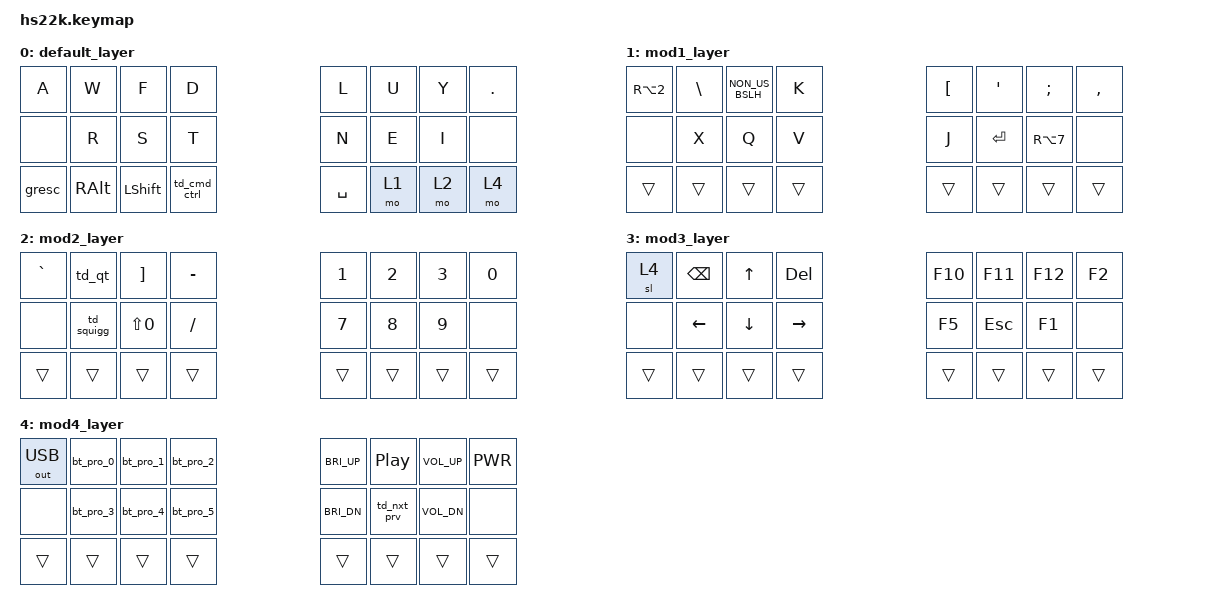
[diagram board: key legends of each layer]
/*
 * Copyright (c) 2022 Daniel Grenehed
 *
 * SPDX-License-Identifier: MIT
 */

#include <behaviors.dtsi>
#include <dt-bindings/zmk/keys.h>
#include <dt-bindings/zmk/outputs.h>
#include <dt-bindings/zmk/bt.h>

&mt {
	retro-tap;
};

/ {
	macros {/*
		bt_pro: set_bt_profile {
			label = "Bluetooth_select_profile";
			compatible = "zmk,behavior-macro-one-param";
			#binding-cells = <1>;
			bindings 
				= <&macro_param_1to2>
				, <&bt BT_SEL 0>
				, <&out OUT_BLE>
				;
		};*/
		
		bt_pro_0: set_pro_0 {
		 	label = "BLE_profile_0";
			compatible = "zmk,behavior-macro";
			#binding-cells = <0>;
			bindings = <&bt BT_SEL 0>, <&out OUT_BLE>;
		};
		bt_pro_1: set_pro_1 {
		 	label = "BLE_profile_1";
			compatible = "zmk,behavior-macro";
			#binding-cells = <0>;
			bindings = <&bt BT_SEL 1>, <&out OUT_BLE>;
		};
		bt_pro_2: set_pro_2 {
		 	label = "BLE_profile_2";
			compatible = "zmk,behavior-macro";
			#binding-cells = <0>;
			bindings = <&bt BT_SEL 2>, <&out OUT_BLE>;
		};
		bt_pro_3: set_pro_3 {
		 	label = "BLE_profile_3";
			compatible = "zmk,behavior-macro";
			#binding-cells = <0>;
			bindings = <&bt BT_SEL 3>, <&out OUT_BLE>;
		};
		bt_pro_4: set_pro_4 {
		 	label = "BLE_profile_4";
			compatible = "zmk,behavior-macro";
			#binding-cells = <0>;
			bindings = <&bt BT_SEL 4>, <&out OUT_BLE>;
		};
		bt_pro_5: set_pro_5 {
		 	label = "BLE_profile_5";
			compatible = "zmk,behavior-macro";
			#binding-cells = <0>;
			bindings = <&bt BT_SEL 5>, <&out OUT_BLE>;
		};
    	};

	behaviors {
		/*

		*/
		td_cmd_ctrl: td-cmd-ctrl {
		    compatible = "zmk,behavior-tap-dance";
		    label = "CMD-CTRL";
		    #binding-cells = <0>;
		    tapping-term-ms = <200>;
		    bindings = <&kp LCTRL>, <&kp LGUI>;
		};
		td_qt: strofe { /* ´ ` */
			compatible = "zmk,behavior-tap-dance";
			label = "STROFE";
			#binding-cells = <0>;
			tapping-term-ms = <200>;
			bindings = <&kp EQUAL>, <&kp LS(EQUAL)>;
		};
		td_nxt_prv: nextprev {
			compatible = "zmk,behavior-tap-dance";
			label = "NextPrev";
			#binding-cells = <0>;
			tapping-term-ms = <200>;
			bindings = <&kp C_NEXT>, <&kp C_PREV>;
		};
		td_squigg: squigg {
			compatible = "zmk,behavior-tap-dance";
			label = "Squigg";
			#binding-cells = <0>;
			tapping-term-ms = <200>;
			bindings = <&kp RA(RBKT)>, <&kp RA(N0)>;
		};
    };

	keymap {
		compatible = "zmk,keymap";

		default_layer {
			// --------------------------------------------------------
			// | A | W | F | D |				 	  | L | U | Y | . |
			// |   | R | S | T |				 	  | N | E | I |   |
			// | N/A | ALT | SHIFT | WIN/CTRl | SPACE | MO | MO | MO  |
			// --------------------------------------------------------
			bindings = <
				&kp A &kp W &kp F &kp D				&kp L &kp U &kp Y &kp DOT
				&none &kp R &kp S &kp T 			&kp N &kp E &kp I &none
				&gresc &kp RALT &kp LSHIFT &td_cmd_ctrl		&kp SPACE &mo 1 &mo 2 &mo 4
			>;
		};

		mod1_layer {
			// ---------------------------------------------------
			// | @ | ' | < | K |			| Å | Ä | Ö | , |
			// |   | X | Q | V |			| J | ENTER | | | |
			// | N/A | ALT | SHIFT | WIN | SPACE | MO | MO | MO  |
			// ---------------------------------------------------
			bindings = <
				&kp RA(N2) &kp BSLH &kp NON_US_BSLH &kp K	&kp LBKT &kp APOS &kp SEMI &kp COMMA
				&none &kp X &kp Q &kp V 			&kp J &kp RET &kp RA(N7) &none
				&trans &trans &trans &trans			&trans &trans &trans &trans
			>;
		};

		mod2_layer {
			// ---------------------------------------------------
			// | § | ´` | ¨ | + |				 | 1 | 2 | 3 | 0 |
			// |  | ~≈ | = | - |				 | 7 | 8 | 9 | |
			// | N/A | ALT | SHIFT | WIN | SPACE | MO | MO | MO  |
			// ---------------------------------------------------
			bindings = <
				&kp GRAVE &td_qt &kp RBKT &kp MINUS	&kp N1 &kp N2 &kp N3 &kp N0
				&none &td_squigg &kp LS(N0) &kp FSLH 	&kp N7 &kp N8 &kp N9 &none
				&trans &trans &trans &trans		&trans &trans &trans &trans
			>;
		};
		
		mod3_layer {
			// ---------------------------------------------------
			// | sl4 | Backspace | UP | DELETE |	 | F10 | F11 | F12 | F2 |
			// | | RIGHT | DOWN | LEFT |	 | F5 | ESC | F1 | |
			// | N/A | ALT | SHIFT | WIN | SPACE | MO | MO | MO  |
			// ---------------------------------------------------
			bindings = <
				&sl 4 &kp BSPC &kp UP &kp DEL		&kp F10 &kp F11 &kp F12 &kp F2
				&none &kp LEFT &kp DOWN &kp RIGHT 	&kp F5 &kp ESC &kp F1 &none
				&trans &trans &trans &trans		&trans &trans &trans &trans
			>;
		};

		mod4_layer {
			// ---------------------------------------------------
			// | out_usb | bt0 | bt1 | bt2 |	| Brightness up | play/pause | volume up | Lock |
			// | | bt3 | bt4 | bt5 |		| Brightness down | Next/Prev | volume down |   |
			// | N/A | ALT | SHIFT | WIN | SPACE | MO | MO | MO  |
			// ---------------------------------------------------
			bindings = <
				&out OUT_USB &bt_pro_0 &bt_pro_1 &bt_pro_2	&kp C_BRI_UP &kp C_PP &kp C_VOL_UP &kp K_PWR
				&none &bt_pro_3 &bt_pro_4 &bt_pro_5 		&kp C_BRI_DN &td_nxt_prv &kp C_VOL_DN &none
				&trans &trans &trans &trans			&trans &trans &trans &trans
			>;
		};

	};

	conditional_layers {
        compatible = "zmk,conditional-layers";
        tri_layer {
            if-layers = <1 2>;
            then-layer = <3>;
        };
    };	
};

/ {
    combos {
        compatible = "zmk,combos";

		/*

			Layer 0 In-between row

			| upper row
			-----------------------------------------
			|  | P | C | G |		| M | H | O |  |
			-----------------------------------------
			| lower row
		
		*/
		combo_butt_2l0 {
			timeout-ms = <30>;
			key-positions = <1 9>;
			layers = <0>;
			bindings = <&kp P>;
		};
		combo_butt_3l0 {
			timeout-ms = <30>;
			key-positions = <2 10>;
			layers = <0>;
			bindings = <&kp C>;
		};
		combo_butt_4l0 {
		    	timeout-ms = <30>;
		    	key-positions = <3 11>;
		    	layers = <0>;
		    	bindings = <&kp G>;
		};


		combo_butt_5l0 {
			timeout-ms = <30>;
			key-positions = <4 12>;
			layers = <0>;
			bindings = <&kp M>;
		};
		combo_butt_6l0 {
			timeout-ms = <30>;
			key-positions = <5 13>;
			layers = <0>;
			bindings = <&kp H>;
		};
		combo_butt_7l0 {
			timeout-ms = <30>;
			key-positions = <6 14>;
			layers = <0>;
			bindings = <&kp O>;
		};
		
		/*
			Layer 1 In-between row

			| upper row
			-----------------------------------------
			|   | Z | TAB | B |		| ? | & | ! |  |
			-----------------------------------------
			| lower row
		*/
		combo_butt_2l1 {
			timeout-ms = <30>;
			key-positions = <1 9>;
			layers = <1>;
			bindings = <&kp Z>;
		};
		combo_butt_3l1 {
			timeout-ms = <30>;
			key-positions = <2 10>;
			layers = <1>;
			bindings = <&kp TAB>;
		};
		combo_butt_4l1 {
			timeout-ms = <30>;
			key-positions = <3 11>;
			layers = <1>;
			bindings = <&kp B>;
		};


		combo_butt_5l1 {
			timeout-ms = <30>;
			key-positions = <4 12>;
			layers = <1>;
			bindings = <&kp LS(MINUS)>;
		};
		combo_butt_6l1 {
			timeout-ms = <30>;
			key-positions = <5 13>;
			layers = <1>;
			bindings = <&kp LS(N6)>;
		};
		combo_butt_7l1 {
			timeout-ms = <30>;
			key-positions = <6 14>;
			layers = <1>;
			bindings = <&kp LS(N1)>;
		};
	
		/*
			Layer 2 In-between row

			-----------------------------------------
			|   | CAPS | # | * |		| 4 | 5 | 6 |   |
			-----------------------------------------

		*/
		combo_butt_2l2 {
			timeout-ms = <30>;
			key-positions = <1 9>;
			layers = <2>;
			bindings = <&kp CAPS>;
		};
		combo_butt_3l2 {
			timeout-ms = <30>;
			key-positions = <2 10>;
			layers = <2>;
			bindings = <&kp HASH>;
		};
		combo_butt_4l2 {
			timeout-ms = <30>; 
			key-positions = <3 11>;
			layers = <2>;
			bindings = <&kp LS(BSLH)>;
		};


		combo_butt_5l2 {
			timeout-ms = <30>;
			key-positions = <4 12>;
			layers = <2>;
			bindings = <&kp N4>;
		};
		combo_butt_6l2 {
			timeout-ms = <30>;
			key-positions = <5 13>;
			layers = <2>;
			bindings = <&kp N5>;
		};
		combo_butt_7l2 {
			timeout-ms = <30>;
			key-positions = <6 14>;
			layers = <2>;
			bindings = <&kp N6>;
		};
			
		/* 
			Layer 3 In-between row

			Magnet align thirds
			---------------------------------------------------
			|  | F3 | F4 | F6 |		| F7 | F8 | F9 |  |
			---------------------------------------------------
		*/
		combo_butt_2l3 {
			timeout-ms = <30>;
			key-positions = <1 9>;
			layers = <3>;
			bindings = <&kp F3>;
		};
		combo_butt_3l3 {
			timeout-ms = <30>;
			key-positions = <2 10>;
			layers = <3>;
			bindings = <&kp F4>;
		};
		combo_butt_4l3 {
			timeout-ms = <30>;
			key-positions = <3 11>;
			layers = <3>;
			bindings = <&kp F6>;
		};


		combo_butt_5l3 {
			timeout-ms = <30>;
			key-positions = <4 12>;
			layers = <3>;
			bindings = <&kp F7>;
		};
		combo_butt_6l3 {
			timeout-ms = <30>;
			key-positions = <5 13>;
			layers = <3>;
			bindings = <&kp F8>;
		};
		combo_butt_7l3 {
			timeout-ms = <30>;
			key-positions = <6 14>;
			layers = <3>;
			bindings = <&kp F9>;
		};		

		/* 
			Layer 4 In-between row
			-------------------------------------------------------------
			|  |  |  |  |		| Flash | Clear bt profile | ? | |
			-------------------------------------------------------------
		*/
		
		combo_butt_2l4 {
			timeout-ms = <30>;
			key-positions = <1 9>;
			layers = <4>;
			bindings = <&kp 0>;
		};
		combo_butt_3l4 {
			timeout-ms = <30>;
			key-positions = <2 10>;
			layers = <4>;
			bindings = <&kp 0>;
		};
		combo_butt_4l4 {
			timeout-ms = <30>;
			key-positions = <3 11>;
			layers = <4>;
			bindings = <&kp 0>;
		};


		combo_butt_5l4 {
			timeout-ms = <30>;
			key-positions = <4 12>;
			layers = <4>;
			bindings = <&bootloader>;
		};
		combo_butt_6l4 {
			timeout-ms = <30>;
			key-positions = <5 13>;
			layers = <4>;
			bindings = <&bt BT_CLR>;
		};
		combo_butt_7l4 {
			timeout-ms = <30>;
			key-positions = <6 14>;
			layers = <4>;
			bindings = <&kp UNDER>;
		};
		
		/*
			key numbers:
			    --------------U--       	    	    --U--------------
			----| 1 | 2 | 3 |[n]|     	    	    |[n]| 4 | 5 | 6 |----
			| 0 | 9 | 10| 11|[!]|      	    	    |[!]| 12| 13| 14| 7 |
			| 8 |-----------|[n]|=---               ---=|[n]|-----------| 15|
		        -----       | 16| 17| 18|               | 19| 20| 21|       -----
			            -------------	        -------------
																			    			// 8 and 15 NC
		*/

		combo_up_left {
			timeout-ms = <60>;
			key-positions = <1 2 3>;
			layers = <0>;
			bindings = <&kp F14>;
		};
		combo_up_right {
			timeout-ms = <60>;
			key-positions = <4 5 6>;
			layers = <0>;
			bindings = <&kp F15>;
		};
		combo_home_left {
			timeout-ms = <60>;
			key-positions = <1 2 3 9 10 11>;
			layers = <0>;
			bindings = <&kp F18>;
		};
		combo_home_right {
			timeout-ms = <60>;
			key-positions = <4 5 6 12 13 14>;
			layers = <0>;
			bindings = <&kp F19>;
		};
		combo_down_left {
			timeout-ms = <60>;
			key-positions = <9 10 11>;
			layers = <0>;
			bindings = <&kp F16>;
		};
		combo_down_right {
			timeout-ms = <60>;
			key-positions = <12 13 14>;
			layers = <0>;
			bindings = <&kp F17>;
		};
    };
};
